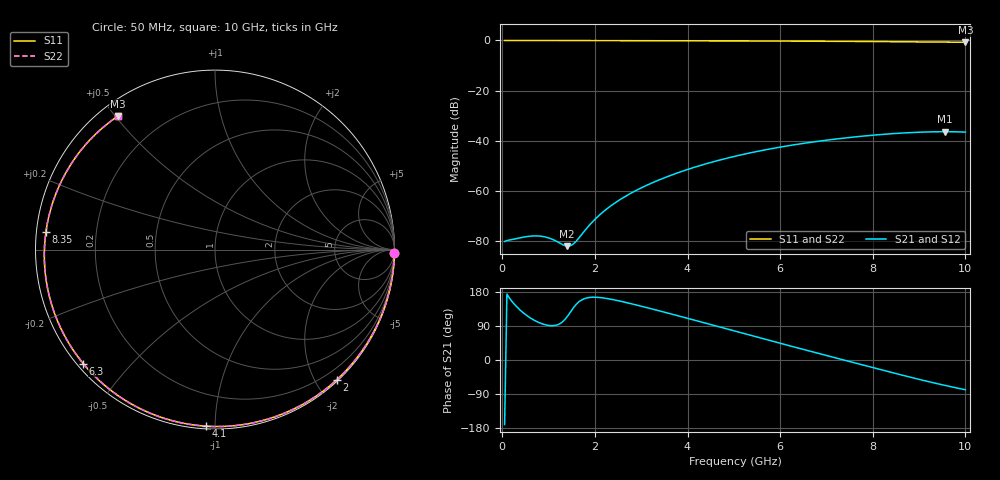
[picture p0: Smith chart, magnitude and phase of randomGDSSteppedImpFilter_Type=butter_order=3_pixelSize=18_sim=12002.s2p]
! freq	dB(S11)	phase(S11)	dB(S12)	phase(S12)
!  dB(S21)	phase(S21)	dB(S22)	phase(S22)
!S-par simulation data
#  GHz  S  DB  R 50
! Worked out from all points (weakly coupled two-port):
!   200 points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, 50 MHz to 10 GHz, reference 50 ohm
!   highest |S21| = -36.32 dB at 9.55 GHz (marker M1); lowest = -81.9 dB at 1.4 GHz (marker M2)
!   lowest |S11| = -0.7 dB at 10 GHz (marker M3), VSWR 23.90, Z = 2.63 + j25.4 ohm
!   |S11| at or under -10 dB: nowhere
!   |S22| runs from -0.7 to 0.0 dB; largest |S21 - S12| = 0
!   S11 on the Smith chart (normalised r, x): 50 MHz: 0, -96; 2 GHz: 0.02, -2.31; 4.1 GHz: 0.01, -0.95; 6.3 GHz: 0.02, -0.37; 8.35 GHz: 0.03, +0.05; 10 GHz: 0.05, +0.51
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0.05  -0.00 -1.2  -80.01 -170.5  -80.01 -170.5  -0.00 -1.2
0.7  -0.02 -16.7  -77.80 104.2  -77.80 104.2  -0.02 -16.7
0.95  -0.03 -22.6  -78.34 92.4  -78.34 92.4  -0.03 -22.6
1.2  -0.03 -28.5  -80.24 93.3  -80.24 93.3  -0.03 -28.5
1.4  -0.04 -33.1  -81.89 114.1  -81.89 114.1  -0.04 -33.1
1.6  -0.05 -37.7  -79.81 147.3  -79.81 147.3  -0.05 -37.7
1.75  -0.05 -41.2  -76.41 160.7  -76.41 160.7  -0.05 -41.2
2  -0.06 -46.9  -71.23 165.7  -71.23 165.7  -0.06 -46.9
2.3  -0.07 -53.7  -66.45 161.4  -66.45 161.4  -0.07 -53.7
2.6  -0.08 -60.4  -62.70 153.8  -62.70 153.8  -0.08 -60.4
2.95  -0.09 -68.2  -59.15 143.5  -59.15 143.5  -0.09 -68.2
3.4  -0.10 -78.0  -55.41 129.4  -55.41 129.4  -0.10 -78.0
4.1  -0.13 -93.0  -50.76 106.8  -50.76 106.8  -0.13 -93.0
5.05  -0.18 -112.9  -45.99 75.4  -45.99 75.4  -0.18 -112.9
5.65  -0.21 -125.4  -43.64 55.6  -43.64 55.6  -0.21 -125.4
6.3  -0.26 -139.1  -41.54 34.4  -41.54 34.4  -0.26 -139.1
6.7  -0.29 -147.7  -40.45 21.5  -40.45 21.5  -0.29 -147.7
7.55  -0.38 -166.7  -38.52 -5.7  -38.52 -5.7  -0.38 -166.7
8.35  -0.47 173.9  -37.20 -31.1  -37.20 -31.1  -0.47 173.9
8.95  -0.56 158.0  -36.57 -49.6  -36.57 -49.6  -0.56 158.0
9.55  -0.65 140.4  -36.32 -66.8  -36.32 -66.8  -0.65 140.5
10  -0.73 126.0  -36.48 -78.5  -36.48 -78.5  -0.73 126.0
